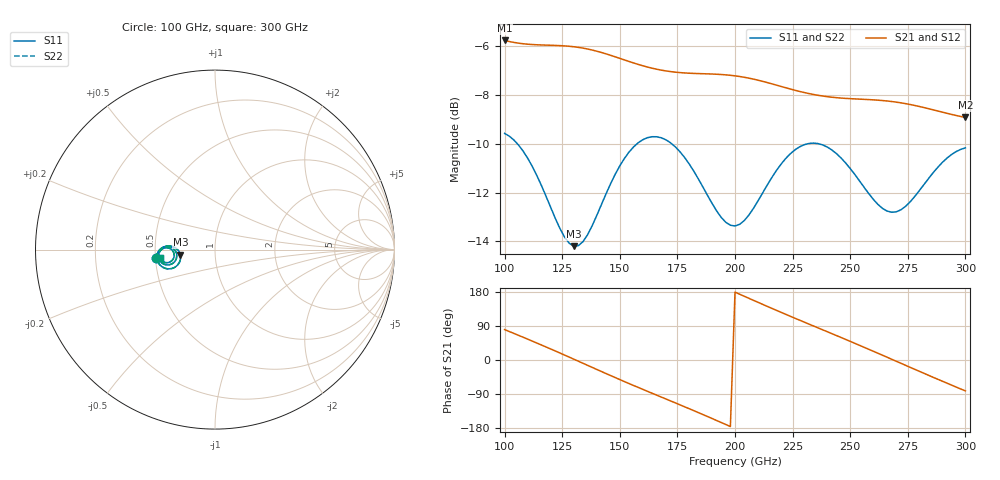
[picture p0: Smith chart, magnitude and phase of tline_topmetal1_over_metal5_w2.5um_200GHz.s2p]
#  GHZ S DB R 50
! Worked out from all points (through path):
!   101 points, 100 GHz to 300 GHz, reference 50 ohm
!   highest |S21| = -5.79 dB at 100 GHz (marker M1); lowest = -8.9 dB at 300 GHz (marker M2)
!   group delay of S21, straight-line fit = 7.25 ps
!   lowest |S11| = -14.2 dB at 130 GHz (marker M3), VSWR 1.49, Z = 33.8 - j1.96 ohm
!   |S11| at or under -10 dB: 105.4 GHz to 157.6 GHz (52.18 GHz wide, 39.7 % of centre); 172.4 GHz to 231.9 GHz (59.55 GHz wide, 29.5 % of centre); 235.8 GHz to end of sweep
!   |S22| runs from -14.2 to -9.6 dB; largest |S21 - S12| = 5.3e-14
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100  -9.59 -171.5  -5.79 80.3  -5.79 80.3  -9.58 -171.5
108  -10.30 180.0  -5.93 60.1  -5.93 60.1  -10.29 -180.0
116  -11.72 175.4  -5.98 39.6  -5.98 39.6  -11.70 175.5
130  -14.19 -171.8  -6.05 2.3  -6.05 2.3  -14.16 -171.7
134  -14.01 -164.6  -6.10 -8.6  -6.10 -8.6  -13.97 -164.6
142  -12.50 -156.5  -6.28 -30.3  -6.28 -30.3  -12.47 -156.6
152  -10.61 -159.2  -6.59 -56.9  -6.59 -56.9  -10.59 -159.2
160  -9.84 -166.0  -6.82 -77.5  -6.82 -77.5  -9.82 -166.0
168  -9.77 -173.8  -7.00 -97.8  -7.00 -97.8  -9.75 -173.7
176  -10.32 179.6  -7.10 -118.0  -7.10 -118.0  -10.30 179.7
186  -11.76 176.1  -7.15 -143.8  -7.15 -143.8  -11.73 176.2
200  -13.37 -172.1  -7.24 179.0  -7.24 179.0  -13.31 -172.1
208  -12.65 -163.5  -7.37 157.5  -7.37 157.5  -12.60 -163.6
218  -11.10 -162.1  -7.62 131.0  -7.62 131.0  -11.07 -162.2
226  -10.26 -166.4  -7.82 110.3  -7.82 110.3  -10.24 -166.5
234  -9.98 -172.4  -8.00 89.9  -8.00 89.9  -9.96 -172.5
250  -11.02 178.2  -8.17 49.2  -8.17 49.2  -11.00 178.2
260  -12.28 179.6  -8.22 23.2  -8.22 23.2  -12.25 179.6
268  -12.81 -173.8  -8.28 2.0  -8.28 2.0  -12.78 -173.8
276  -12.38 -166.9  -8.41 -19.3  -8.41 -19.3  -12.36 -166.9
286  -11.19 -164.6  -8.62 -45.6  -8.62 -45.6  -11.17 -164.7
300  -10.18 -171.0  -8.94 -81.6  -8.94 -81.6  -10.17 -171.1
